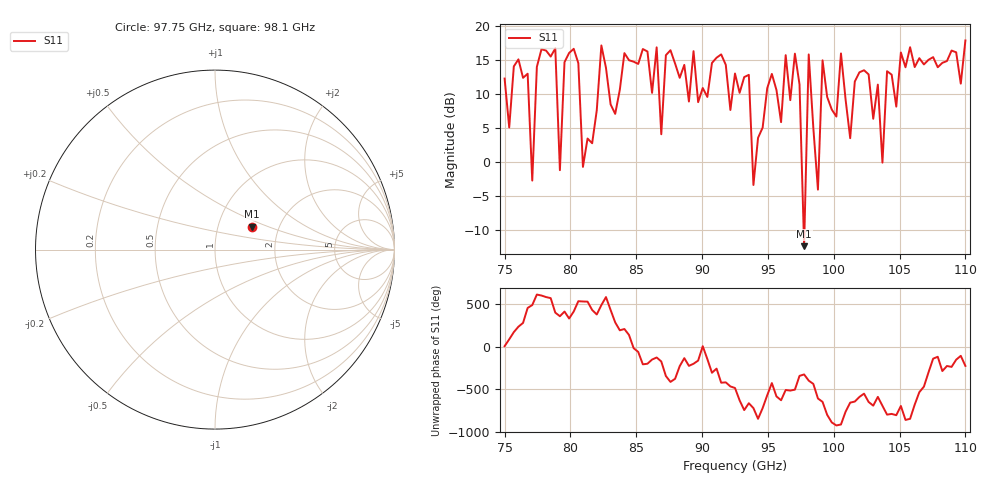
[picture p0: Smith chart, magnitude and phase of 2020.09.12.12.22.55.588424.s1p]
!Created with skrf (http://scikit-rf.org).
# GHz S RI R 50.0
!freq ReS11 ImS11
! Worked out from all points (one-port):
!   101 points, 75 GHz to 110 GHz, reference 50 ohm
!   lowest |S11| = -12.3 dB at 97.75 GHz (marker M1), VSWR 1.64, Z = 72.9 + j19.7 ohm
!   |S11| at or under -10 dB: 97.71604 GHz to 97.77866 GHz (62.62 MHz wide, 0.0641 % of centre)
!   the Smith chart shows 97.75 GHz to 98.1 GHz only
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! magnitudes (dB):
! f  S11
! 75 GHz  12.2
! 76.75 GHz  13.0
! 77.1 GHz  -2.7
! 77.8 GHz  16.5
! 78.85 GHz  16.7
! 79.2 GHz  -1.2
! 79.55 GHz  14.6
! 80.6 GHz  14.5
! 80.95 GHz  -0.7
! 82.35 GHz  17.1
! 83.75 GHz  10.6
! 88.3 GHz  12.3
! 92.5 GHz  13.0
! 93.55 GHz  12.8
! 93.9 GHz  -3.3
! 97.05 GHz  15.9
! 97.4 GHz  11.4
! 97.75 GHz  -12.3
! 98.1 GHz  15.8
! 98.8 GHz  -4.0
! 99.15 GHz  14.9
! 100.5 GHz  15.9
! 101.2 GHz  3.5
! 102.3 GHz  13.5
! 103.7 GHz  -0.1
! 104 GHz  13.3
! 105.8 GHz  16.8
! 110 GHz  17.8
